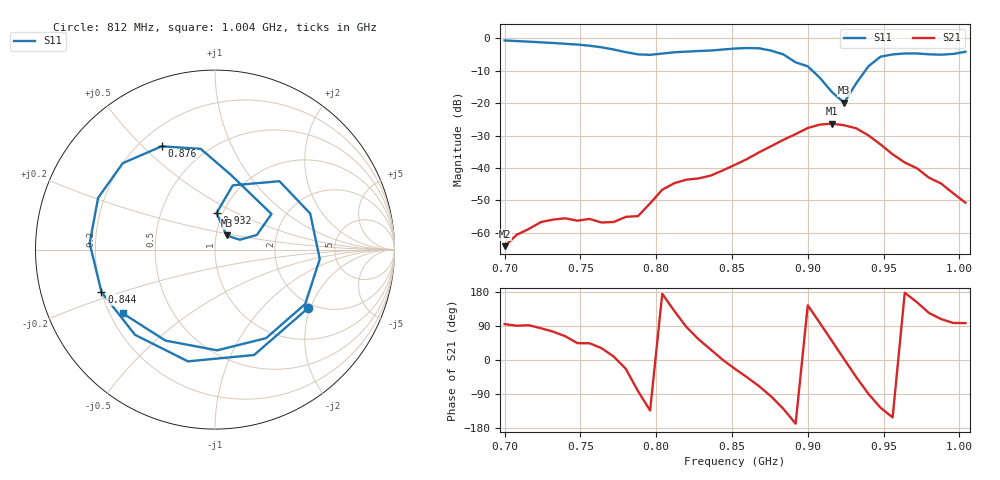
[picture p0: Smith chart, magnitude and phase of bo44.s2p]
# Hz S RI R 50
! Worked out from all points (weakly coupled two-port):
!   39 points, 700 MHz to 1.004 GHz, reference 50 ohm
!   highest |S21| = -26.29 dB at 916 MHz (marker M1); lowest = -64.1 dB at 700 MHz (marker M2)
!   lowest |S11| = -19.8 dB at 924 MHz (marker M3), VSWR 1.23, Z = 56.1 + j8.95 ohm
!   |S11| at or under -10 dB: 903.2 MHz to 937.9 MHz (34.68 MHz wide, 3.77 % of centre)
!   S12 and S22 are empty: the file has one direction only
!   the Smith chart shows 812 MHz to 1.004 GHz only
!   S11 on the Smith chart (normalised r, x): 812 MHz: 1.84, -1.93; 844 MHz: 0.20, -0.17; 876 MHz: 0.29, +0.57; 932 MHz: 0.94, +0.40; 1.004 GHz: 0.25, -0.29
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7e8  0.7648 0.5318  -5.19e-05 0.000621  0 0  0 0
7.24e8  0.8303 -0.2634  0.00016 0.00146  0 0  0 0
7.4e8  0.4397 -0.7016  0.000769 0.00149  0 0  0 0
7.56e8  -0.2001 -0.7457  0.00118 0.00114  0 0  0 0
7.72e8  -0.6505 -0.1765  0.00145 0.000232  0 0  0 0
7.8e8  -0.5648 0.243  0.00162 -0.000707  0 0  0 0
7.88e8  -0.2025 0.5306  0.000251 -0.00179  0 0  0 0
8.04e8  0.5731 0.1134  -0.00461 0.000432  0 0  0 0
8.12e8  0.5178 -0.3266  -0.0037 0.00453  0 0  0 0
8.28e8  -0.1505 -0.6226  0.004 0.00564  0 0  0 0
8.44e8  -0.6324 -0.2366  0.00921 2.56e-05  0 0  0 0
8.52e8  -0.6985 0.0354  0.0103 -0.00447  0 0  0 0
8.76e8  -0.2971 0.5754  -0.00257 -0.0217  0 0  0 0
9e8  0.3146 0.1984  -0.0337 0.0242  0 0  0 0
9.08e8  0.2332 0.0816  -0.00629 0.0464  0 0  0 0
9.16e8  0.138 0.0549  0.0312 0.0371  0 0  0 0
9.24e8  0.0645 0.0789  0.0457 0.00166  0 0  0 0
9.32e8  0.00866 0.2037  0.0289 -0.0291  0 0  0 0
9.48e8  0.359 0.3812  -0.0136 -0.0188  0 0  0 0
9.56e8  0.5303 0.201  -0.0143 -0.00779  0 0  0 0
9.8e8  0.2848 -0.4933  -0.00398 0.00587  0 0  0 0
1.004e9  -0.5124 -0.3559  -0.000378 0.00289  0 0  0 0
